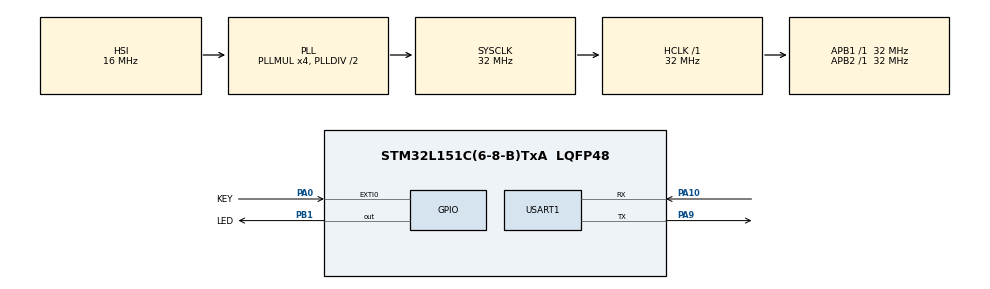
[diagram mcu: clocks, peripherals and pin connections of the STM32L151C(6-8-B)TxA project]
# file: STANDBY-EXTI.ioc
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Mcu.Family=STM32L1
Mcu.Name=STM32L151C(6-8-B)TxA
Mcu.Package=LQFP48
NVIC.EXTI0_IRQn=true\:0\:0\:false
NVIC.PriorityGroup=NVIC_PRIORITYGROUP_4
PA0-WKUP1.GPIO_Label=KEY
PA0-WKUP1.GPIO_ModeDefaultEXTI=GPIO_MODE_IT_RISING
PA0-WKUP1.GPIO_PuPd=GPIO_PULLDOWN
PA0-WKUP1.Signal=GPXTI0
PA10.Mode=Asynchronous
PA10.Signal=USART1_RX
PA13.Mode=Serial-Wire
PA13.Signal=SYS_JTMS-SWDIO
PA14.Mode=Serial-Wire
PA14.Signal=SYS_JTCK-SWCLK
PA9.Mode=Asynchronous
PA9.Signal=USART1_TX
PB1.GPIO_Label=LED
PB1.GPIO_PuPd=GPIO_NOPULL
PB1.Signal=GPIO_Output
ProjectManager.HeapSize=0x400
ProjectManager.StackSize=0x200
ProjectManager.TargetToolchain=EWARM
RCC.AHBFreq_Value=32000000
RCC.APB1Freq_Value=32000000
RCC.APB1TimFreq_Value=32000000
RCC.APB2Freq_Value=32000000
RCC.APB2TimFreq_Value=32000000
RCC.HCLKFreq_Value=32000000
RCC.HSE_VALUE=8000000
RCC.HSI_VALUE=16000000
RCC.LSE_VALUE=32768
RCC.MSI_VALUE=2097000
RCC.PLLMUL=RCC_PLL_MUL4
RCC.RTCClockSelection=RCC_RTCCLKSOURCE_LSI
RCC.RTCClockSelectionVirtual=RCC_RTCCLKSOURCE_LSI
RCC.SYSCLKFreq_VALUE=32000000
RCC.SYSCLKSource=RCC_SYSCLKSOURCE_PLLCLK
RCC.USBOutput=32000000
RCC.VCOOutputFreq_Value=64000000
board=STANDBY-EXTI

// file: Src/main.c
/**
******************************************************************************
* File Name          : main.c
* Description        : Main program body
******************************************************************************
*
* COPYRIGHT(c) 2015 STMicroelectronics
*
* Redistribution and use in source and binary forms, with or without modification,
* are permitted provided that the following conditions are met:
*   1. Redistributions of source code must retain the above copyright notice,
*      this list of conditions and the following disclaimer.
*   2. Redistributions in binary form must reproduce the above copyright notice,
*      this list of conditions and the following disclaimer in the documentation
*      and/or other materials provided with the distribution.
*   3. Neither the name of STMicroelectronics nor the names of its contributors
*      may be used to endorse or promote products derived from this software
*      without specific prior written permission.
*
* THIS SOFTWARE IS PROVIDED BY THE COPYRIGHT HOLDERS AND CONTRIBUTORS "AS IS"
* AND ANY EXPRESS OR IMPLIED WARRANTIES, INCLUDING, BUT NOT LIMITED TO, THE
* IMPLIED WARRANTIES OF MERCHANTABILITY AND FITNESS FOR A PARTICULAR PURPOSE ARE
* DISCLAIMED. IN NO EVENT SHALL THE COPYRIGHT HOLDER OR CONTRIBUTORS BE LIABLE
* FOR ANY DIRECT, INDIRECT, INCIDENTAL, SPECIAL, EXEMPLARY, OR CONSEQUENTIAL
* DAMAGES (INCLUDING, BUT NOT LIMITED TO, PROCUREMENT OF SUBSTITUTE GOODS OR
* SERVICES; LOSS OF USE, DATA, OR PROFITS; OR BUSINESS INTERRUPTION) HOWEVER
* CAUSED AND ON ANY THEORY OF LIABILITY, WHETHER IN CONTRACT, STRICT LIABILITY,
* OR TORT (INCLUDING NEGLIGENCE OR OTHERWISE) ARISING IN ANY WAY OUT OF THE USE
* OF THIS SOFTWARE, EVEN IF ADVISED OF THE POSSIBILITY OF SUCH DAMAGE.
*
******************************************************************************
*/
#include "stm32l1xx_hal.h"
#include "usart.h"
#include "gpio.h"

/* USER CODE BEGIN PV */
/* Private variables ---------------------------------------------------------*/

/* USER CODE END PV */

void SystemClock_Config(void);

/* USER CODE BEGIN PFP */
/* Private function prototypes -----------------------------------------------*/

/* USER CODE END PFP */

int main(void)
{

	/* USER CODE BEGIN 1 */
	__IO uint8_t sec = 0;
	/* USER CODE END 1 */

	/* MCU Configuration----------------------------------------------------------*/

	/* Reset of all peripherals, Initializes the Flash interface and the Systick. */
	HAL_Init();

	/* Configure the system clock */
	SystemClock_Config();

	/* Initialize all configured peripherals */
	MX_GPIO_Init();

	MX_USART1_UART_Init();

	/* USER CODE BEGIN 2 */

	// 禁用比较器
	__COMP_CLK_DISABLE();

	// 低功耗模式下RTC 允许访问 ，RTC唤醒需要
	//HAL_PWR_EnableBkUpAccess();
	HAL_PWR_DisableBkUpAccess();

	// 禁止 PVD
	HAL_PWR_DisablePVD();

	// 关闭VREFINT	少3uA
	HAL_PWREx_EnableUltraLowPower();
	// 忽略VREFINT 加快启动速度
	HAL_PWREx_EnableFastWakeUp();

	// 允许/禁用 调试端口 少800uA
	HAL_DBGMCU_DisableDBGStopMode();
	//HAL_DBGMCU_EnableDBGStopMode();

	// 检查系统是否从待机模式恢复
	if(__HAL_PWR_GET_FLAG(PWR_FLAG_SB) != RESET)
	{
		/* Clear Standby flag */
		printf(" \r\nResume by from StandBy mode\r\n");
		__HAL_PWR_CLEAR_FLAG(PWR_FLAG_SB);
	}else{
		printf(" \r\nSystem Init\r\n");
	}

	/* USER CODE END 2 */

	/* Infinite loop */
	/* USER CODE BEGIN WHILE */
	while (1)
	{
		LED_TOG;
		HAL_Delay(1000);
		printf("Run!\r\n");
		sec++;
		if(sec>5){
			sec=0;
			printf("=== StandBy mode===\r\n");
			// PIN1 连接到 PWR->CR 的 PWR_FLAG_WU 标记
			// 用于唤醒后，判断WKUP按钮状态
			HAL_PWR_EnableWakeUpPin(PWR_WAKEUP_PIN1);

			/* Clear all related wakeup flags */
			__HAL_PWR_CLEAR_FLAG(PWR_FLAG_WU);

			/* Enter the Standby mode */
			HAL_PWR_EnterSTANDBYMode();
		}

		/* USER CODE END WHILE */

	}

}

/** System Clock Configuration
*/
void SystemClock_Config(void)
{

	RCC_OscInitTypeDef RCC_OscInitStruct;
	RCC_ClkInitTypeDef RCC_ClkInitStruct;
	RCC_PeriphCLKInitTypeDef PeriphClkInit;

	__PWR_CLK_ENABLE();

	__HAL_PWR_VOLTAGESCALING_CONFIG(PWR_REGULATOR_VOLTAGE_SCALE1);

	RCC_OscInitStruct.OscillatorType = RCC_OSCILLATORTYPE_HSI;
	RCC_OscInitStruct.HSIState = RCC_HSI_ON;
	RCC_OscInitStruct.HSICalibrationValue = 16;
	RCC_OscInitStruct.PLL.PLLState = RCC_PLL_ON;
	RCC_OscInitStruct.PLL.PLLSource = RCC_PLLSOURCE_HSI;
	RCC_OscInitStruct.PLL.PLLMUL = RCC_PLL_MUL4;
	RCC_OscInitStruct.PLL.PLLDIV = RCC_PLL_DIV2;
	HAL_RCC_OscConfig(&RCC_OscInitStruct);

	RCC_ClkInitStruct.ClockType = RCC_CLOCKTYPE_SYSCLK;
	RCC_ClkInitStruct.SYSCLKSource = RCC_SYSCLKSOURCE_PLLCLK;
	RCC_ClkInitStruct.AHBCLKDivider = RCC_SYSCLK_DIV1;
	RCC_ClkInitStruct.APB1CLKDivider = RCC_HCLK_DIV1;
	RCC_ClkInitStruct.APB2CLKDivider = RCC_HCLK_DIV1;
	HAL_RCC_ClockConfig(&RCC_ClkInitStruct, FLASH_LATENCY_1);

	PeriphClkInit.PeriphClockSelection = RCC_PERIPHCLK_RTC;
	PeriphClkInit.RTCClockSelection = RCC_RTCCLKSOURCE_LSI;
	HAL_RCCEx_PeriphCLKConfig(&PeriphClkInit);

	HAL_SYSTICK_Config(HAL_RCC_GetHCLKFreq()/1000);

	HAL_SYSTICK_CLKSourceConfig(SYSTICK_CLKSOURCE_HCLK);

	/* SysTick_IRQn interrupt configuration */
	HAL_NVIC_SetPriority(SysTick_IRQn, 0, 0);
}

/* USER CODE BEGIN 4 */

//===================================================  printf uart1
#ifdef __GNUC__
/* With GCC/RAISONANCE, small printf (option LD Linker->Libraries->Small printf
set to 'Yes') calls __io_putchar() */
#define PUTCHAR_PROTOTYPE int __io_putchar(int ch)
#else
#define PUTCHAR_PROTOTYPE int fputc(int ch, FILE *f)
#endif
PUTCHAR_PROTOTYPE
{
	while(__HAL_UART_GET_FLAG(&huart1, UART_FLAG_TC) == RESET);
#ifdef __STM32F0xx_HAL_H

	huart1.Instance->TDR = (uint8_t)ch;
#endif

#ifdef __STM32F1xx_HAL_H
	huart1.Instance->DR = (uint8_t)ch;
#endif

#ifdef __STM32L1xx_HAL_H
	huart1.Instance->DR = (uint8_t)ch;
#endif

	return ch;
}

/* USER CODE END 4 */

/************************ (C) COPYRIGHT STMicroelectronics *****END OF FILE****/
